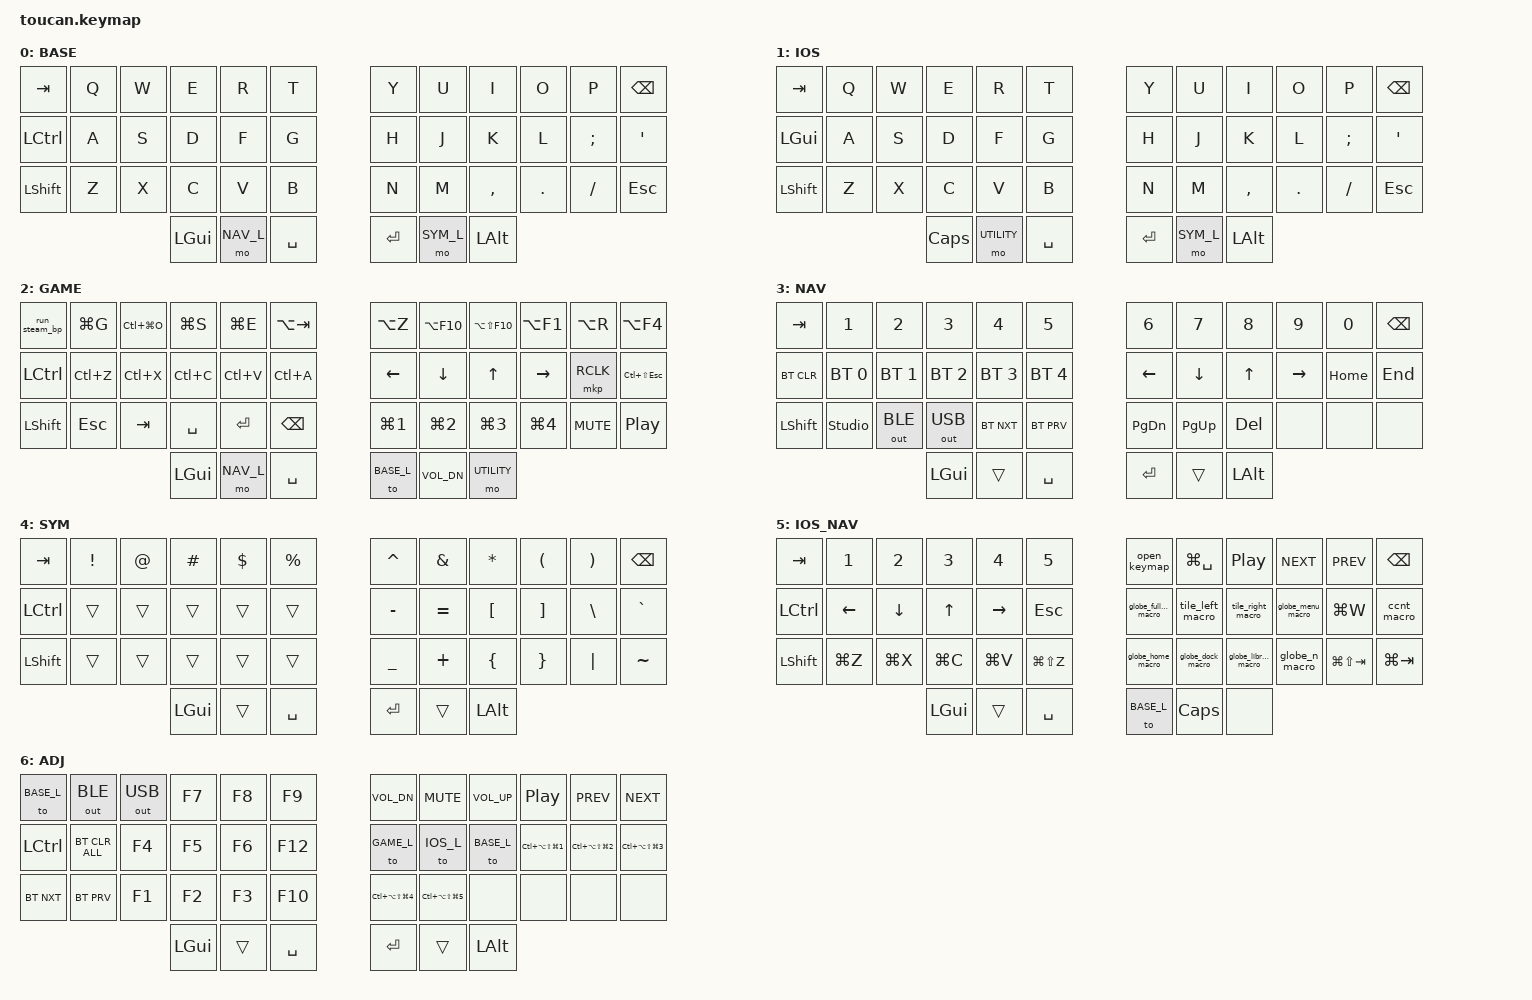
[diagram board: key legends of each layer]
/*
 * Toucan Split Keyboard — Allen Schiffman optimized keymap
 * Generated: 2026-06-09
 * SPDX-License-Identifier: MIT
 *
 * Design notes:
 * - Layer order changed so momentary layers sit ABOVE persistent base/profile layers.
 *   BASE=0, IOS=1, GAME=2, NAV=3, SYM=4, IOS_NAV=5, ADJ=6.
 * - ADJ is the highest layer so tri-layer activation is not masked.
 * - iPad Globe behavior is implemented by sending CAPS and relying on iPadOS
 *   Hardware Keyboard > Modifier Keys > Caps Lock = Globe.
 */

#include <behaviors.dtsi>
#include <dt-bindings/zmk/keys.h>
#include <dt-bindings/zmk/bt.h>
#include <dt-bindings/zmk/outputs.h>
#include <dt-bindings/zmk/mouse.h>

#define BASE_L  0
#define IOS_L   1
#define GAME_L  2
#define NAV_L   3
#define SYM_L   4
#define UTILITY 5
#define ADJ_L   6

/* Beekeeb Toucan's stock dtsi routes Cirque trackpad scroll to layers <1 2>.
 * Because this optimized keymap moves NAV/SYM to 3/4, keep scroll tied to NAV+SYM.
 */
&glidepoint_listener {
    scroller {
        layers = <NAV_L SYM_L>;
    };
};

/ {
    macros {
        ccnt_macro: ccnt_macro {
            compatible = "zmk,behavior-macro";
            #binding-cells = <0>;
            bindings = <&macro_press &kp CAPS>,
                       <&macro_tap &kp C>,
                       <&macro_release &kp CAPS>;
        };

        globe_n_macro: globe_n_macro {
            compatible = "zmk,behavior-macro";
            #binding-cells = <0>;
            bindings = <&macro_press &kp CAPS>,
                       <&macro_tap &kp N>,
                       <&macro_release &kp CAPS>;
        };

        globe_home_macro: globe_home_macro {
            compatible = "zmk,behavior-macro";
            #binding-cells = <0>;
            bindings = <&macro_press &kp CAPS>,
                       <&macro_tap &kp H>,
                       <&macro_release &kp CAPS>;
        };

        globe_dock_macro: globe_dock_macro {
            compatible = "zmk,behavior-macro";
            #binding-cells = <0>;
            bindings = <&macro_press &kp CAPS>,
                       <&macro_tap &kp A>,
                       <&macro_release &kp CAPS>;
        };

        globe_library_macro: globe_library_macro {
            compatible = "zmk,behavior-macro";
            #binding-cells = <0>;
            bindings = <&macro_press &kp CAPS>,
                       <&macro_press &kp LSHFT>,
                       <&macro_tap &kp A>,
                       <&macro_release &kp LSHFT>,
                       <&macro_release &kp CAPS>;
        };

        globe_menu_macro: globe_menu_macro {
            compatible = "zmk,behavior-macro";
            #binding-cells = <0>;
            bindings = <&macro_press &kp CAPS>,
                       <&macro_tap &kp M>,
                       <&macro_release &kp CAPS>;
        };

        globe_fullscreen_macro: globe_fullscreen_macro {
            compatible = "zmk,behavior-macro";
            #binding-cells = <0>;
            bindings = <&macro_press &kp CAPS>,
                       <&macro_tap &kp F>,
                       <&macro_release &kp CAPS>;
        };

        tile_left_macro: tile_left_macro {
            compatible = "zmk,behavior-macro";
            #binding-cells = <0>;
            bindings = <&macro_press &kp LCTRL>,
                       <&macro_press &kp CAPS>,
                       <&macro_tap &kp LEFT>,
                       <&macro_release &kp CAPS>,
                       <&macro_release &kp LCTRL>;
        };

        tile_right_macro: tile_right_macro {
            compatible = "zmk,behavior-macro";
            #binding-cells = <0>;
            bindings = <&macro_press &kp LCTRL>,
                       <&macro_press &kp CAPS>,
                       <&macro_tap &kp RIGHT>,
                       <&macro_release &kp CAPS>,
                       <&macro_release &kp LCTRL>;
        };

        open_keymap: open_keymap {
            compatible = "zmk,behavior-macro";
            #binding-cells = <0>;
            bindings = <&macro_press &kp LGUI>,
                       <&macro_tap &kp SPACE>,
                       <&macro_release &kp LGUI>,
                       <&macro_wait_time 100>,
                       <&macro_tap &kp O &kp P &kp E &kp N &kp SPACE &kp K &kp E &kp Y &kp M &kp A &kp P>,
                       <&macro_wait_time 100>,
                       <&macro_tap &kp RET>;
        };

        run_steam_bp: run_steam_bp {
            compatible = "zmk,behavior-macro";
            #binding-cells = <0>;
            bindings = <&macro_press &kp LGUI>,
                       <&macro_tap &kp R>,
                       <&macro_release &kp LGUI>,
                       <&macro_wait_time 100>,
                       <&macro_tap &kp S &kp T &kp E &kp A &kp M &kp COLON &kp FSLH &kp FSLH &kp O &kp P &kp E &kp N &kp FSLH &kp B &kp I &kp G &kp P &kp I &kp C &kp T &kp U &kp R &kp E>,
                       <&macro_wait_time 100>,
                       <&macro_tap &kp RET>;
        };
    };

    conditional_layers {
        compatible = "zmk,conditional-layers";

        tri_layer_base {
            if-layers = <NAV_L SYM_L>;
            then-layer = <ADJ_L>;
        };

        tri_layer_ios {
            if-layers = <UTILITY SYM_L>;
            then-layer = <ADJ_L>;
        };
    };

    keymap {
        compatible = "zmk,keymap";

        /* Layer 0: BASE — Windows/PC typing base */
        default_layer {
            display-name = "BASE";
            bindings = <
    &kp TAB                     &kp Q                       &kp W                       &kp E                       &kp R                       &kp T                         &kp Y                       &kp U                       &kp I                       &kp O                       &kp P                       &kp BSPC                  
    &kp LCTRL                   &kp A                       &kp S                       &kp D                       &kp F                       &kp G                         &kp H                       &kp J                       &kp K                       &kp L                       &kp SEMI                    &kp SQT                   
    &kp LSHFT                   &kp Z                       &kp X                       &kp C                       &kp V                       &kp B                         &kp N                       &kp M                       &kp COMMA                   &kp DOT                     &kp FSLH                    &kp ESC                   
                                   &kp LGUI                    &mo NAV_L                   &kp SPC                       &kp RET                     &mo SYM_L                   &kp LALT                  
            >;
        };

        /* Layer 1: IOS — iPadOS typing base: Command where Windows Control normally sits, Caps→Globe thumb */
        ios_layer {
            display-name = "IOS";
            bindings = <
    &kp TAB                     &kp Q                       &kp W                       &kp E                       &kp R                       &kp T                         &kp Y                       &kp U                       &kp I                       &kp O                       &kp P                       &kp BSPC                  
    &kp LGUI                    &kp A                       &kp S                       &kp D                       &kp F                       &kp G                         &kp H                       &kp J                       &kp K                       &kp L                       &kp SEMI                    &kp SQT                   
    &kp LSHFT                   &kp Z                       &kp X                       &kp C                       &kp V                       &kp B                         &kp N                       &kp M                       &kp COMMA                   &kp DOT                     &kp FSLH                    &kp ESC                   
                                   &kp CAPS                    &mo UTILITY                 &kp SPC                       &kp RET                     &mo SYM_L                   &kp LALT                  
            >;
        };

        /* Layer 2: GAME — Windows couch/controller command deck */
        game_layer {
            display-name = "GAME";
            bindings = <
    &run_steam_bp               &kp LG(G)                   &kp LC(LG(O))               &kp LG(S)                   &kp LG(E)                   &kp LA(TAB)                   &kp LA(Z)                   &kp LA(F10)                 &kp LA(LS(F10))             &kp LA(F1)                  &kp LA(R)                   &kp LA(F4)                
    &kp LCTRL                   &kp LC(Z)                   &kp LC(X)                   &kp LC(C)                   &kp LC(V)                   &kp LC(A)                     &kp LEFT                    &kp DOWN                    &kp UP                      &kp RIGHT                   &mkp RCLK                   &kp LC(LS(ESC))           
    &kp LSHFT                   &kp ESC                     &kp TAB                     &kp SPACE                   &kp RET                     &kp BSPC                      &kp LG(N1)                  &kp LG(N2)                  &kp LG(N3)                  &kp LG(N4)                  &kp C_MUTE                  &kp C_PP                  
                                   &kp LGUI                    &mo NAV_L                   &kp SPACE                     &to BASE_L                  &kp C_VOL_DN                &mo UTILITY               
            >;
        };

        /* Layer 3: NAV — Numbers, arrows, Bluetooth, output controls */
        nav_layer {
            display-name = "NAV";
            bindings = <
    &kp TAB                     &kp N1                      &kp N2                      &kp N3                      &kp N4                      &kp N5                        &kp N6                      &kp N7                      &kp N8                      &kp N9                      &kp N0                      &kp BSPC                  
    &bt BT_CLR                  &bt BT_SEL 0                &bt BT_SEL 1                &bt BT_SEL 2                &bt BT_SEL 3                &bt BT_SEL 4                  &kp LEFT                    &kp DOWN                    &kp UP                      &kp RIGHT                   &kp HOME                    &kp END                   
    &kp LSHFT                   &studio_unlock              &out OUT_BLE                &out OUT_USB                &bt BT_NXT                  &bt BT_PRV                    &kp PG_DN                   &kp PG_UP                   &kp DEL                     &none                       &none                       &none                     
                                   &kp LGUI                    &trans                      &kp SPC                       &kp RET                     &trans                      &kp LALT                  
            >;
        };

        /* Layer 4: SYM — Symbols and delimiters */
        sym_layer {
            display-name = "SYM";
            bindings = <
    &kp TAB                     &kp EXCL                    &kp AT                      &kp HASH                    &kp DLLR                    &kp PRCNT                     &kp CARET                   &kp AMPS                    &kp ASTRK                   &kp LPAR                    &kp RPAR                    &kp BSPC                  
    &kp LCTRL                   &trans                      &trans                      &trans                      &trans                      &trans                        &kp MINUS                   &kp EQUAL                   &kp LBKT                    &kp RBKT                    &kp BSLH                    &kp GRAVE                 
    &kp LSHFT                   &trans                      &trans                      &trans                      &trans                      &trans                        &kp UNDER                   &kp PLUS                    &kp LBRC                    &kp RBRC                    &kp PIPE                    &kp TILDE                 
                                   &kp LGUI                    &trans                      &kp SPC                       &kp RET                     &trans                      &kp LALT                  
            >;
        };

        /* Layer 5: IOS_NAV — iPadOS navigation, windowing, media, and Apple shortcuts */
        utility_layer {
            display-name = "IOS_NAV";
            bindings = <
    &kp TAB                     &kp N1                      &kp N2                      &kp N3                      &kp N4                      &kp N5                        &open_keymap                &kp LG(SPACE)               &kp C_PP                    &kp C_NEXT                  &kp C_PREV                  &kp BSPC                  
    &kp LCTRL                   &kp LEFT                    &kp DOWN                    &kp UP                      &kp RIGHT                   &kp ESC                       &globe_fullscreen_macro     &tile_left_macro            &tile_right_macro           &globe_menu_macro           &kp LG(W)                   &ccnt_macro               
    &kp LSHFT                   &kp LG(Z)                   &kp LG(X)                   &kp LG(C)                   &kp LG(V)                   &kp LG(LS(Z))                 &globe_home_macro           &globe_dock_macro           &globe_library_macro        &globe_n_macro              &kp LG(LS(TAB))             &kp LG(TAB)               
                                   &kp LGUI                    &trans                      &kp SPC                       &to BASE_L                  &kp CAPS                    &none                     
            >;
        };

        /* Layer 6: ADJ — System adjustment, layer switching, function keys, FKA shortcut slots */
        adj_layer {
            display-name = "ADJ";
            bindings = <
    &to BASE_L                  &out OUT_BLE                &out OUT_USB                &kp F7                      &kp F8                      &kp F9                        &kp C_VOL_DN                &kp C_MUTE                  &kp C_VOL_UP                &kp C_PP                    &kp C_PREV                  &kp C_NEXT                
    &kp LCTRL                   &bt BT_CLR_ALL              &kp F4                      &kp F5                      &kp F6                      &kp F12                       &to GAME_L                  &to IOS_L                   &to BASE_L                  &kp LC(LA(LS(LG(N1))))      &kp LC(LA(LS(LG(N2))))      &kp LC(LA(LS(LG(N3))))    
    &bt BT_NXT                  &bt BT_PRV                  &kp F1                      &kp F2                      &kp F3                      &kp F10                       &kp LC(LA(LS(LG(N4))))      &kp LC(LA(LS(LG(N5))))      &none                       &none                       &none                       &none                     
                                   &kp LGUI                    &trans                      &kp SPC                       &kp RET                     &trans                      &kp LALT                  
            >;
        };
    };
};
